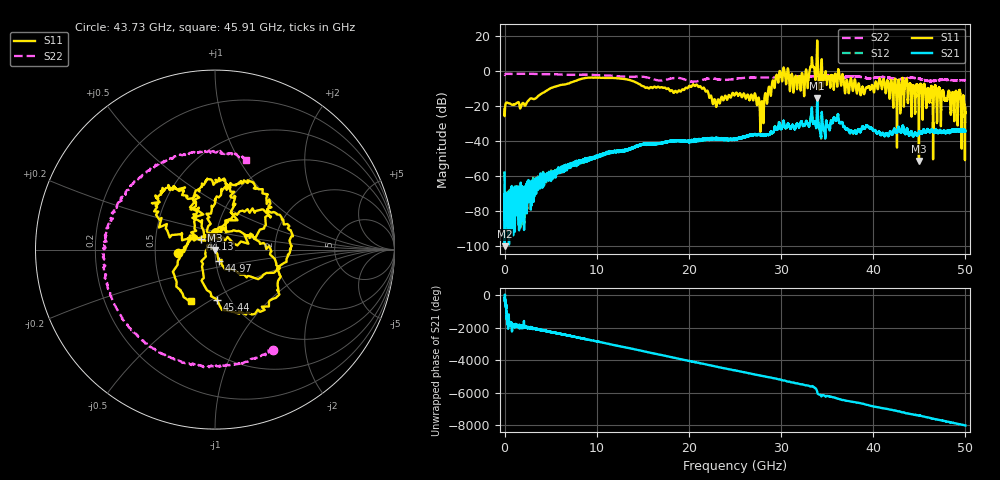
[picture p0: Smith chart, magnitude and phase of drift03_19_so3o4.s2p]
!Created with skrf (http://scikit-rf.org).
# Hz S RI R 50.0
!freq ReS11 ImS11 ReS21 ImS21 ReS12 ImS12 ReS22 ImS22
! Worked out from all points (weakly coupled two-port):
!   10001 points, 300 kHz to 50 GHz, reference 50 ohm
!   highest |S21| = -15.26 dB at 33.92 GHz (marker M1); lowest = -100.0 dB at 15.3 MHz (marker M2)
!   lowest |S11| = -51.2 dB at 44.96 GHz (marker M3), VSWR 1.01, Z = 50 - j0.274 ohm
!   |S11| at or under -10 dB: start of sweep to 4.85 GHz; 21.69 GHz to 28.62 GHz (6.933 GHz wide, 27.6 % of centre); 47.19 GHz to end of sweep (the widest 3 of 45)
!   |S22| runs from -5.9 to -1.3 dB; largest |S21 - S12| = 0.018
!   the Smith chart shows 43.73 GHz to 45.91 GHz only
!   S11 on the Smith chart (normalised r, x): 43.73 GHz: 0.66, -0.03; 44.13 GHz: 0.85, +0.10; 44.97 GHz: 1.03, -0.13; 45.44 GHz: 0.87, -0.53; 45.91 GHz: 0.66, -0.42
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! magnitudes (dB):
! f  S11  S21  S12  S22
! 300 kHz  -21.5  -57.9  -57.5  -2.0
! 15.3 MHz  -24.5  -100.0  -76.0  -2.0
! 420.3 MHz  -18.2  -73.2  -68.8  -1.4
! 8.335 GHz  -4.3  -51.0  -51.5  -1.9
! 16.67 GHz  -8.8  -41.3  -41.3  -5.2
! 21.01 GHz  -8.7  -39.1  -39.3  -5.5
! 22.81 GHz  -16.1  -38.9  -39.0  -4.2
! 25 GHz  -13.4  -38.7  -38.7  -4.3
! 27.92 GHz  -17.2  -36.5  -36.4  -3.5
! 29.69 GHz  -6.5  -32.0  -31.7  -3.1
! 32.32 GHz  -1.5  -30.5  -30.6  -3.3
! 33.34 GHz  7.9  -20.6  -21.0  -2.9
! 33.92 GHz  17.7  -15.3  -15.5  -2.5
! 38.81 GHz  -8.9  -31.4  -31.8  -3.4
! 41.67 GHz  -9.1  -37.0  -36.8  -3.7
! 43.73 GHz  -13.7  -33.5  -33.5  -3.8
! 44.13 GHz  -20.0  -34.2  -34.5  -3.7
! 44.96 GHz  -51.2  -35.4  -35.0  -4.2
! 44.97 GHz  -23.5  -34.9  -34.5  -4.2
! 45.44 GHz  -11.1  -33.5  -33.9  -4.9
! 45.91 GHz  -10.0  -33.3  -33.5  -5.6
! 50 GHz  -20.9  -34.4  -34.0  -5.0
